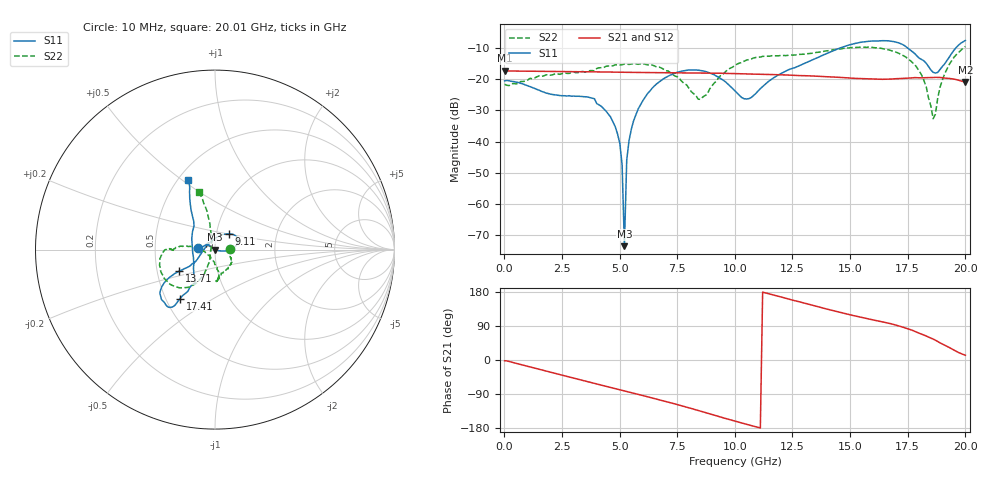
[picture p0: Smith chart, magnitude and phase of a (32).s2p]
! Hittite Microwave Corporation
! 2 Elizabeth Drive
! Chelmsford, MA 01824
! http://www.hittite.com
! Tel: 978-250-3343
! Fax: 978-250-3373
! Device:  HMC424LP3
! Description: 0.5 dB GaAs MMIC 6-Bit Digital Attenuator
! Frequency:  DC -  13.00 GHz
! Package:  LP3  - 3x3 mm Quad Flatpack No-Lead (QFN) Plastic Package: 16 pin
! Ports:  2 RF, 7 DC
!  Pad  1  = Ground
!  Pad  2  = RF IN  = Port1
!  Pad  3  = Ground
!  Pad  4  = V6
!  Pad  5  = V5
!  Pad  6  = V4
!  Pad  7  = V3
!  Pad  8  = V2
!  Pad  9  = V1
!  Pad 10  = Ground
!  Pad 11  = RF IN  = Port1
!  Pad 12  = Ground
!  Pad 15  = VEE
! Control:  -5 Volt control voltage
! State:  30
! Attenuation:  15.0 dB
! Voltages:  Vdd = -5.00 Volts  Idd =  -2.680 mA
!  V1  = 0.00 Volts  I1  =  30.0 uA
!  V2  = -5.00 Volts  I2  =  -1.0 uA
!  V3  = -5.00 Volts  I3  =  -1.0 uA
!  V4  = -5.00 Volts  I4  =  -1.0 uA
!  V5  = -5.00 Volts  I5  =  -1.0 uA
!  V6  = 0.00 Volts  I6  =  30.0 uA
! Data:  The device was measured on evaluation board 105354-1.
!  Data was collected using a calibrated network analyzer.
!  The evaluation circuit board was modeled and simulated.  This was use
!  to removed the evaluation board circuit from the measured data.
!  The reference plane is the edge of the package pin.
! Misc:  Lot xxxx, Unit 1
!  Application 20120001, Data collected in Application 20090083
! Date Measured:  2009-09-15
! Date:  2012-05-14  MJV
! Note:
!  Hittite supplies this data as a sample of measured data at the package pin
!  for this product.  Your particular data for this product may vary.
!  Data was taken at 25 degrees C.
!  Hittite reserves the right to change this data at anytime.
# GHz S MA R 50
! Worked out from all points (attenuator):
!   201 points, 10 MHz to 20.01 GHz, reference 50 ohm
!   highest |S21| = -17.25 dB at 10 MHz (marker M1); lowest = -20.9 dB at 20.01 GHz (marker M2)
!   lowest |S11| = -73.5 dB at 5.21 GHz (marker M3), VSWR 1.00, Z = 50 + j0.0195 ohm
!   |S11| at or under -10 dB: start of sweep to 14.58 GHz; 17.5 GHz to 19.6 GHz (2.093 GHz wide, 11.3 % of centre)
!   |S22| runs from -32.7 to -9.5 dB; largest |S21 - S12| = 0.0014
!   S11 on the Smith chart (normalised r, x): 10 MHz: 0.83, +0.02; 9.11 GHz: 1.15, +0.20; 13.71 GHz: 0.65, -0.16; 17.41 GHz: 0.59, -0.36; 20.01 GHz: 0.56, +0.52
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0.01  0.09371 174.5  0.1372 -2.0  0.1362 -1.6  0.08277 3.2
3.41  0.05265 135.6  0.1315 -54.0  0.1313 -54.1  0.133 -63.2
4.41  0.03084 147.7  0.1303 -69.4  0.13 -69.4  0.1606 -82.1
4.91  0.01332 153.7  0.1294 -77.1  0.1291 -77.1  0.1703 -84.2
5.11  0.004247 156.8  0.1291 -80.1  0.129 -80.1  0.1698 -86.4
5.21  0.0002121 66.5  0.1291 -81.6  0.1289 -81.6  0.1752 -86.9
5.31  0.005053 -22.7  0.1288 -83.1  0.1286 -83.2  0.1741 -85.6
5.51  0.01574 -18.9  0.1285 -86.2  0.1283 -86.2  0.1743 -87.6
6.01  0.04525 -10.9  0.1278 -93.8  0.1276 -93.8  0.1773 -86.7
6.71  0.08979 1.0  0.127 -104.7  0.1268 -104.8  0.1567 -83.4
8.41  0.1393 31.9  0.1252 -133.0  0.125 -133.0  0.04779 -121.2
9.11  0.1175 48.4  0.1247 -145.5  0.1245 -145.5  0.08677 179.7
10.01  0.06489 86.4  0.1228 -161.3  0.1225 -161.3  0.166 172.6
10.61  0.04874 146.6  0.121 -171.2  0.1208 -171.2  0.2063 176.6
13.41  0.2064 -148.2  0.1122 143.8  0.1119 143.8  0.2611 178.8
13.71  0.232 -149.0  0.111 139.1  0.1109 139.0  0.272 -180.0
16.71  0.4095 -128.1  0.1001 96.7  0.09997 96.6  0.2924 -133.5
17.41  0.336 -125.6  0.1035 84.5  0.1033 84.5  0.2277 -120.9
18.11  0.2068 -121.7  0.1049 68.3  0.1048 68.3  0.1168 -113.2
18.61  0.1286 -158.8  0.1063 55.2  0.1062 55.3  0.02329 -173.1
19.11  0.1758 131.7  0.1039 39.0  0.1037 39.0  0.1218 102.6
20.01  0.4166 111.4  0.08979 12.5  0.08985 12.5  0.3342 105.9
